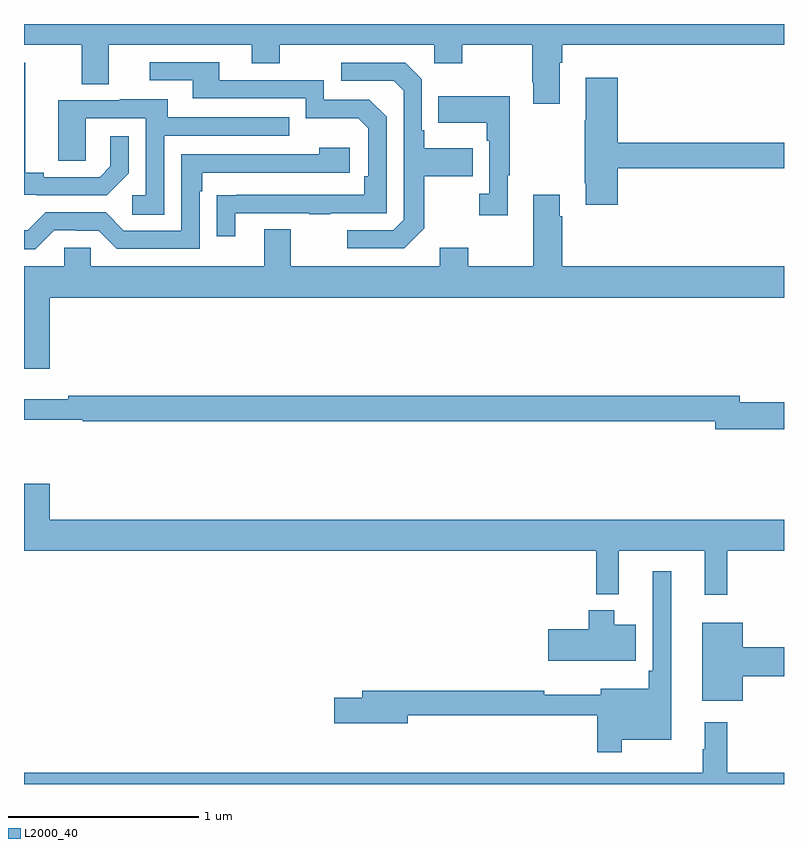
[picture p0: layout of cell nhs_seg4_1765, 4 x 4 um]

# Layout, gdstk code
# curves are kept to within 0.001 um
import gdstk
lib = gdstk.Library(unit=1e-6, precision=1e-09)
def P(c, l, *ps):  # polygons
    for p in ps: c.add(gdstk.Polygon(p, *l))
L2000_40 = (2000, 40)

nhs_seg4_1765 = lib.new_cell('nhs_seg4_1765')
P(nhs_seg4_1765, L2000_40, [(201,824.792),(201.305,824.792),(201.305,824.584),(201.445,824.584),(201.445,824.792),(202.199,824.792),(202.199,824.693),(202.347,824.693),(202.347,824.792),(203.16,824.792),(203.16,824.693),(203.307,824.693),(203.307,824.792),(203.674,824.792),(203.674,824.593),(203.681,824.593),(203.681,824.481),(203.821,824.481),(203.821,824.696),(203.834,824.696),(203.834,824.792),(205,824.792),(205,824.9),(201,824.9)],
  [(202.111,823.905),(202.501,823.905),(202.501,823.9),(202.613,823.9),(202.613,823.905),(202.908,823.905),(202.908,824.412),(202.818,824.502),(202.578,824.502),(202.578,824.604),(202.027,824.604),(202.027,824.7),(201.663,824.7),(201.663,824.604),(201.887,824.604),(201.887,824.508),(202.482,824.508),(202.482,824.405),(202.759,824.405),(202.812,824.352),(202.812,824.098),(202.792,824.098),(202.792,824.001),(202.015,824),(202.015,823.782),(202.111,823.782)],
  [(203.107,823.825),(203.107,824.098),(203.363,824.098),(203.363,824.245),(203.107,824.245),(203.107,824.341),(203.094,824.341),(203.094,824.61),(203.007,824.697),(202.671,824.697),(202.671,824.601),(202.947,824.601),(202.998,824.55),(202.998,823.869),(202.944,823.815),(202.701,823.815),(202.701,823.719),(203.001,823.719)],
  [(201.552,824.114),(201.552,824.308),(201.455,824.308),(201.455,824.151),(201.398,824.094),(201.103,824.094),(201.103,824.117),(201.007,824.117),(201.007,824.697),(201,824.697),(201,824.001),(201.064,824.001),(201.064,823.998),(201.436,823.998)],
  [(204.125,824.14),(205,824.14),(205,824.276),(204.125,824.276),(204.125,824.617),(203.957,824.617),(203.957,824.393),(203.95,824.393),(203.95,824.062),(203.957,824.062),(203.957,823.95),(204.125,823.95)],
  [(203.545,824.105),(203.557,824.105),(203.557,824.521),(203.179,824.521),(203.179,824.381),(203.436,824.381),(203.436,824.285),(203.448,824.285),(203.448,824.006),(203.397,824.006),(203.397,823.893),(203.545,823.893)],
  [(201.738,824.313),(202.397,824.313),(202.397,824.409),(201.757,824.409),(201.757,824.503),(201.503,824.503),(201.503,824.499),(201.179,824.499),(201.179,824.179),(201.324,824.179),(201.324,824.403),(201.642,824.403),(201.642,823.998),(201.57,823.998),(201.57,823.897),(201.738,823.897)],
  [(201.159,823.815),(201.275,823.815),(201.275,823.812),(201.393,823.812),(201.489,823.716),(201.924,823.716),(201.924,824.021),(201.937,824.021),(201.937,824.118),(202.714,824.118),(202.714,824.248),(202.553,824.248),(202.553,824.214),(201.828,824.214),(201.828,823.812),(201.525,823.812),(201.429,823.908),(201.114,823.908),(201.021,823.815),(201,823.815),(201,823.715),(201.059,823.715)],
  [(201.136,823.46),(205,823.46),(205,823.624),(203.834,823.624),(203.834,823.889),(203.821,823.889),(203.821,824.002),(203.681,824.002),(203.681,823.624),(203.337,823.624),(203.337,823.723),(203.189,823.723),(203.189,823.624),(202.405,823.624),(202.405,823.819),(202.265,823.819),(202.265,823.624),(201.351,823.624),(201.351,823.722),(201.213,823.722),(201.213,823.624),(201,823.624),(201,823.086),(201.136,823.086)],
  [(205,822.908),(204.766,822.908),(204.766,822.944),(201.232,822.944),(201.232,822.925),(201,822.925),(201,822.816),(201.308,822.816),(201.308,822.808),(204.638,822.808),(204.638,822.766),(205,822.766)],
  [(204.701,822.128),(205,822.128),(205,822.292),(201.136,822.292),(201.136,822.481),(201,822.481),(201,822.128),(204.013,822.128),(204.013,821.9),(204.131,821.9),(204.131,822.128),(204.584,822.128),(204.584,821.895),(204.701,821.895)],
  [(204.145,821.132),(204.406,821.132),(204.406,822.019),(204.309,822.019),(204.309,821.497),(204.289,821.497),(204.289,821.401),(204.035,821.401),(204.035,821.371),(203.739,821.371),(203.739,821.39),(202.781,821.39),(202.781,821.354),(202.632,821.354),(202.632,821.219),(203.02,821.219),(203.02,821.262),(204.016,821.262),(204.016,821.067),(204.145,821.067)],
  [(204.22,821.737),(204.106,821.737),(204.106,821.815),(203.972,821.815),(203.972,821.715),(203.76,821.715),(203.76,821.549),(204.22,821.549)],
  [(204.784,821.468),(205,821.468),(205,821.62),(204.784,821.62),(204.784,821.749),(204.569,821.749),(204.569,821.339),(204.784,821.339)],
  [(205,820.96),(204.701,820.96),(204.701,821.224),(204.584,821.224),(204.584,821.084),(204.573,821.084),(204.573,820.96),(201,820.96),(201,820.9),(205,820.9)])

lib.write_gds('nhs_seg4_1765.gds')
